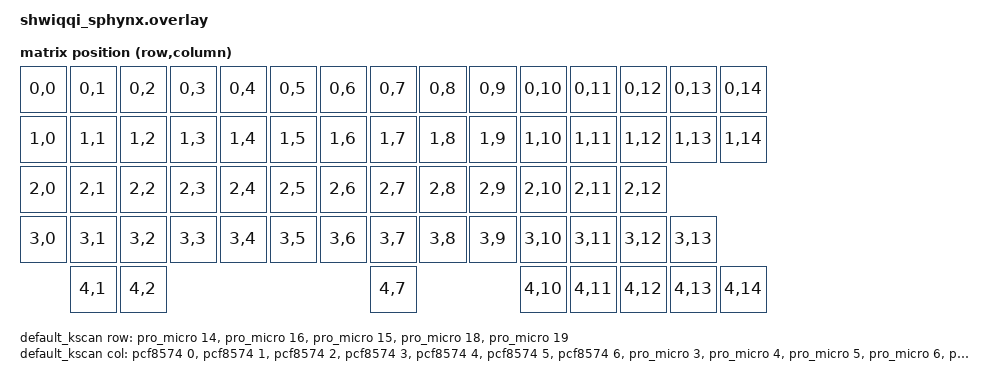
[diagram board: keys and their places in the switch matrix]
#include <dt-bindings/zmk/matrix_transform.h>

&pinctrl {
    i2c1_default: i2c1_default {
        group1 {
            psels = <NRF_PSEL(TWIM_SCL, 0, 31) NRF_PSEL(TWIM_SDA, 0, 29)>;
        };
    };
};

&i2c1 {
        compatible = "nordic,nrf-twim";
        status = "okay";

        pinctrl-0 = <&i2c1_default>;
        pinctrl-names = "default";
        clock-frequency = <I2C_BITRATE_STANDARD>;

        pcf8574: gpio-expander@20 {
            compatible = "nxp,pcf8574";
            reg = <0x20>;
            #gpio-cells = <2>;
            gpio-controller;
            ngpios = <8>;
            status = "okay";
        };
    };

/ {
    chosen {
        zmk,kscan = &default_kscan;
        zmk,matrix_transform = &default_transform;
    };

    default_kscan: kscan {
        compatible = "zmk,kscan-gpio-matrix";
        label = "default_kscan";
        diode-direction = "col2row";

        row-gpios 
            = <&pro_micro 14 (GPIO_ACTIVE_HIGH | GPIO_PULL_DOWN)>  /* ROW 0 */
            , <&pro_micro 16 (GPIO_ACTIVE_HIGH | GPIO_PULL_DOWN)>  /* ROW 1 */
            , <&pro_micro 15 (GPIO_ACTIVE_HIGH | GPIO_PULL_DOWN)>  /* ROW 2 */
            , <&pro_micro 18 (GPIO_ACTIVE_HIGH | GPIO_PULL_DOWN)>  /* ROW 3 */
            , <&pro_micro 19 (GPIO_ACTIVE_HIGH | GPIO_PULL_DOWN)>; /* ROW 4 */

        col-gpios
            = <&pcf8574 0 GPIO_ACTIVE_LOW>    /* COL 0 */
            , <&pcf8574 1 GPIO_ACTIVE_LOW>    /* COL 1 */
            , <&pcf8574 2 GPIO_ACTIVE_LOW>    /* COL 2 */
            , <&pcf8574 3 GPIO_ACTIVE_LOW>    /* COL 3 */
            , <&pcf8574 4 GPIO_ACTIVE_LOW>    /* COL 4 */
            , <&pcf8574 5 GPIO_ACTIVE_LOW>    /* COL 5 */
            , <&pcf8574 6 GPIO_ACTIVE_LOW>    /* COL 6 */
            , <&pro_micro 3 GPIO_ACTIVE_LOW>   /* COL 7 */
            , <&pro_micro 4 GPIO_ACTIVE_LOW>   /* COL 8 */
            , <&pro_micro 5 GPIO_ACTIVE_LOW>   /* COL 9 */
            , <&pro_micro 6 GPIO_ACTIVE_LOW>   /* COL 10 */
            , <&pro_micro 7 GPIO_ACTIVE_LOW>   /* COL 11 */
            , <&pro_micro 8 GPIO_ACTIVE_LOW>   /* COL 12 */
            , <&pro_micro 9 GPIO_ACTIVE_LOW>   /* COL 13 */
            , <&pro_micro 10 GPIO_ACTIVE_LOW>;  /* COL 14 */
    };

    default_transform: matrix_transform {
        compatible = "zmk,matrix-transform";
        rows = <5>;
        columns = <15>;

        map = <
            RC(0,0) RC(0,1) RC(0,2) RC(0,3) RC(0,4) RC(0,5) RC(0,6) RC(0,7) RC(0,8) RC(0,9) RC(0,10) RC(0,11) RC(0,12) RC(0,13) RC(0,14)
            RC(1,0) RC(1,1) RC(1,2) RC(1,3) RC(1,4) RC(1,5) RC(1,6) RC(1,7) RC(1,8) RC(1,9) RC(1,10) RC(1,11) RC(1,12) RC(1,13) RC(1,14)
            RC(2,0) RC(2,1) RC(2,2) RC(2,3) RC(2,4) RC(2,5) RC(2,6) RC(2,7) RC(2,8) RC(2,9) RC(2,10) RC(2,11) RC(2,12)
            RC(3,0) RC(3,1) RC(3,2) RC(3,3) RC(3,4) RC(3,5) RC(3,6) RC(3,7) RC(3,8) RC(3,9) RC(3,10) RC(3,11) RC(3,12) RC(3,13)
                    RC(4,1) RC(4,2)                                 RC(4,7)                 RC(4,10) RC(4,11) RC(4,12) RC(4,13) RC(4,14)
        >;
    };
};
